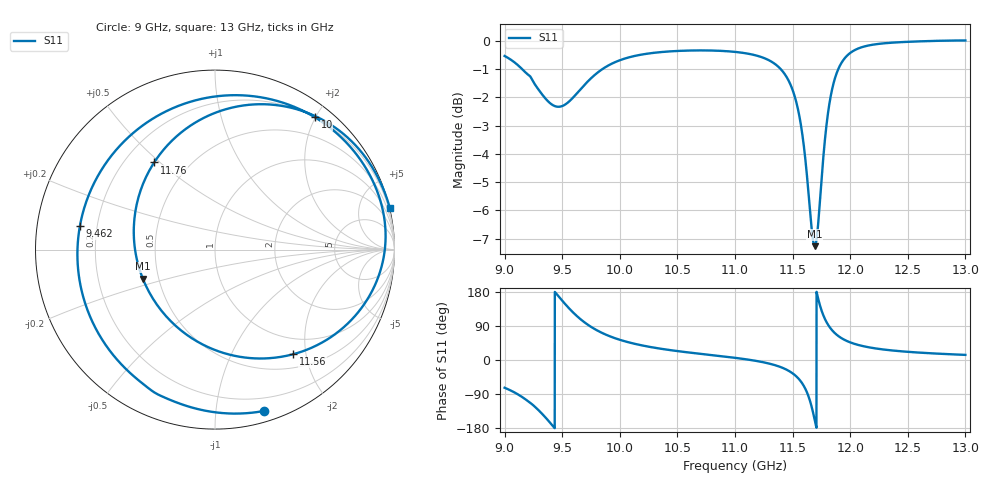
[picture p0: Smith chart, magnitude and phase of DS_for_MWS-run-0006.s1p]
! TOUCHSTONE file generated by CST DESIGN STUDIO
! Date and time: Tue Feb  4 13:42:59 2025
! Project name: C:\Work\MatlabApps\UnitCellOptimizationMatlab\CST\unitcell.cst
! Tree item: Tasks\Sweep1\SPara1\S-Parameters
! Header version: 2024
! Port assignment regex: !\s*Touchstone port\s*([0-9]+)\s*=\s*(CST MWS port|CST DES external port|CST DES block port)\s*(.+)\s* \(\"(.*)\"\)(\s*mode\s*([0-9]+))?.*
! Touchstone port assignment:
! Touchstone port 1 = CST DES external port 1 ("")
# GHz S MA R 50
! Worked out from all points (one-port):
!   4001 points, 9 GHz to 13 GHz, reference 50 ohm
!   lowest |S11| = -7.3 dB at 11.69 GHz (marker M1), VSWR 2.53, Z = 20.4 - j8.14 ohm
!   |S11| at or under -10 dB: nowhere
!   S11 on the Smith chart (normalised r, x): 9 GHz: 0.09, -1.34; 9.462 GHz: 0.13, +0.08; 10 GHz: 0.20, +1.99; 11.56 GHz: 0.71, -1.77; 11.76 GHz: 0.32, +0.48; 13 GHz: -0.02, +8.46
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9  0.9393 -73.2
9.132  0.8986 -93.8
9.237  0.854 -116.5
9.363  0.7866 -154.4
9.462  0.7641 170.2
9.5  0.7663 156.5
9.599  0.795 124.1
9.7  0.8378 97.9
9.846  0.8897 71.5
10  0.9231 53.3
10.004  0.9238 52.9
10.215  0.9465 37.2
10.5  0.9586 23.5
11  0.955 5.8
11.331  0.914 -12.2
11.5  0.8182 -35.2
11.563  0.7277 -53.2
11.633  0.5531 -91.7
11.692  0.4335 -158.0
11.724  0.4802 159.3
11.758  0.5921 124.9
11.796  0.7144 99.2
11.84  0.8151 79.5
11.912  0.9041 60.0
12  0.9509 46.5
12.184  0.9825 32.3
12.5  0.9949 21.6
13  1 13.5
